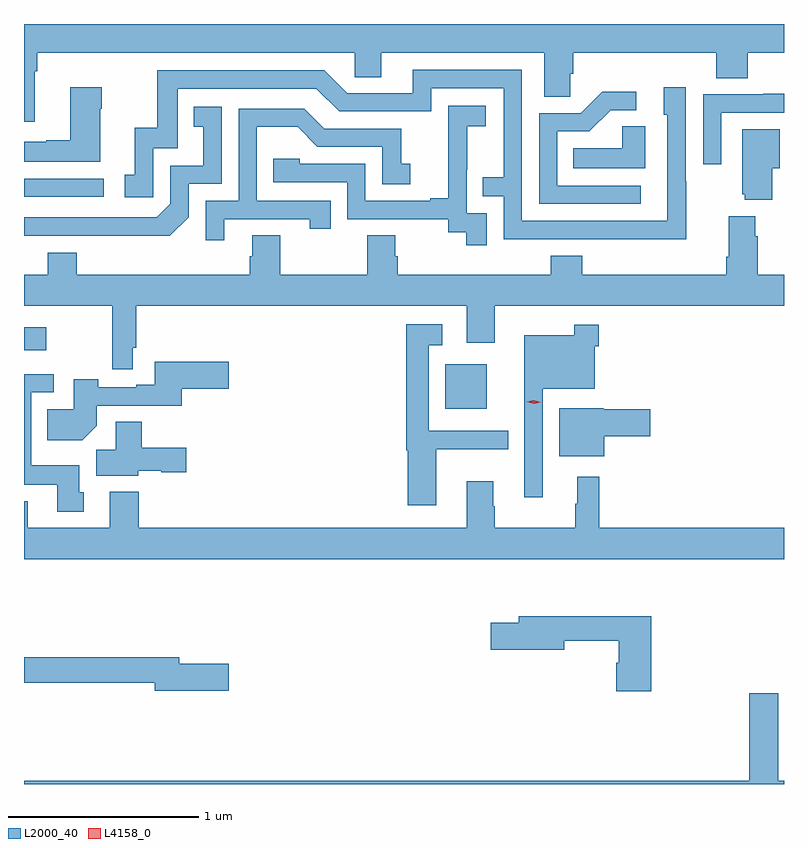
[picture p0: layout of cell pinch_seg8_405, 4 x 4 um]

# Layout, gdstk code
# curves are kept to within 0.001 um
import gdstk
lib = gdstk.Library(unit=1e-6, precision=1e-09)
def R(c, l, rs):  # rectangles x0, y0, x1, y1
    for r in rs: c.add(gdstk.rectangle(r[:2], r[2:], *l))
def P(c, l, *ps):  # polygons
    for p in ps: c.add(gdstk.Polygon(p, *l))
L2000_40 = (2000, 40)
L4158_0 = (4158, 0)

pinch_seg8_405 = lib.new_cell('pinch_seg8_405')
R(pinch_seg8_405, L2000_40, [(588.452,1105.304,588.67,1105.537), (586.234,1105.61,586.351,1105.732), (586.234,1106.418,586.654,1106.514)])
P(pinch_seg8_405, L2000_40, [(587.976,1107.049),(588.115,1107.049),(588.115,1107.176),(588.971,1107.176),(588.971,1106.944),(589.11,1106.944),(589.11,1107.067),(589.124,1107.067),(589.124,1107.176),(589.877,1107.176),(589.877,1107.043),(590.042,1107.043),(590.042,1107.176),(590.234,1107.176),(590.234,1107.328),(586.234,1107.328),(586.234,1106.814),(586.291,1106.814),(586.291,1107.08),(586.304,1107.08),(586.304,1107.176),(587.976,1107.176)],
  [(589.719,1106.501),(589.716,1106.501),(589.716,1106.995),(589.601,1106.995),(589.601,1106.85),(589.62,1106.85),(589.62,1106.292),(588.855,1106.292),(588.855,1107.087),(588.281,1107.087),(588.281,1106.964),(587.934,1106.964),(587.814,1107.084),(586.935,1107.084),(586.935,1106.782),(586.817,1106.782),(586.817,1106.535),(586.764,1106.535),(586.764,1106.415),(586.914,1106.415),(586.914,1106.673),(587.043,1106.673),(587.043,1106.988),(587.772,1106.988),(587.892,1106.868),(588.378,1106.868),(588.378,1106.991),(588.759,1106.991),(588.759,1106.522),(588.649,1106.522),(588.649,1106.421),(588.759,1106.421),(588.759,1106.196),(589.719,1106.195)],
  [(586.636,1106.882),(586.644,1106.882),(586.644,1106.995),(586.478,1106.995),(586.478,1106.717),(586.352,1106.717),(586.352,1106.707),(586.234,1106.707),(586.234,1106.603),(586.636,1106.603)],
  [(589.48,1106.478),(589.041,1106.478),(589.041,1106.763),(589.21,1106.763),(589.321,1106.874),(589.456,1106.874),(589.456,1106.972),(589.277,1106.972),(589.164,1106.859),(588.945,1106.859),(588.945,1106.382),(589.48,1106.382)],
  [(589.905,1106.862),(590.234,1106.862),(590.234,1106.96),(590.125,1106.96),(590.125,1106.958),(589.809,1106.958),(589.809,1106.589),(589.905,1106.589)],
  [(588.669,1106.331),(588.564,1106.331),(588.564,1106.561),(588.566,1106.561),(588.566,1106.789),(588.664,1106.789),(588.664,1106.899),(588.466,1106.899),(588.466,1106.693),(588.467,1106.693),(588.467,1106.41),(588.371,1106.41),(588.371,1106.397),(588.03,1106.397),(588.03,1106.592),(587.685,1106.592),(587.685,1106.619),(587.545,1106.619),(587.545,1106.496),(587.934,1106.496),(587.934,1106.301),(588.468,1106.301),(588.468,1106.233),(588.561,1106.233),(588.561,1106.163),(588.669,1106.163)],
  [(587.1,1106.31),(587.1,1106.487),(587.274,1106.487),(587.274,1106.893),(587.128,1106.893),(587.128,1106.787),(587.177,1106.787),(587.177,1106.583),(587.004,1106.583),(587.004,1106.382),(586.932,1106.31),(586.234,1106.31),(586.234,1106.214),(587.002,1106.213)],
  [(587.287,1106.301),(587.738,1106.301),(587.738,1106.25),(587.849,1106.25),(587.849,1106.397),(587.46,1106.397),(587.46,1106.786),(587.674,1106.786),(587.778,1106.682),(588.12,1106.682),(588.12,1106.484),(588.268,1106.484),(588.268,1106.593),(588.219,1106.593),(588.219,1106.778),(587.815,1106.778),(587.71,1106.883),(587.364,1106.883),(587.364,1106.397),(587.19,1106.397),(587.19,1106.19),(587.287,1106.19)],
  [(589.504,1106.789),(589.383,1106.789),(589.383,1106.674),(589.126,1106.674),(589.126,1106.57),(589.504,1106.57)],
  [(590.173,1106.57),(590.212,1106.57),(590.212,1106.773),(590.015,1106.773),(590.015,1106.433),(590.027,1106.433),(590.027,1106.402),(590.173,1106.402)],
  [(586.806,1105.624),(586.826,1105.624),(586.826,1105.844),(588.563,1105.844),(588.563,1105.65),(588.712,1105.65),(588.712,1105.844),(590.234,1105.844),(590.234,1106.008),(590.096,1106.008),(590.096,1106.21),(590.083,1106.21),(590.083,1106.317),(589.943,1106.317),(589.943,1106.104),(589.931,1106.104),(589.931,1106.008),(589.172,1106.008),(589.172,1106.107),(589.007,1106.107),(589.007,1106.008),(588.2,1106.008),(588.2,1106.106),(588.187,1106.106),(588.187,1106.216),(588.04,1106.216),(588.04,1106.008),(587.583,1106.008),(587.583,1106.216),(587.435,1106.216),(587.435,1106.106),(587.423,1106.106),(587.423,1106.008),(586.511,1106.008),(586.511,1106.125),(586.358,1106.125),(586.358,1106.008),(586.234,1106.008),(586.234,1105.844),(586.698,1105.844),(586.698,1105.512),(586.806,1105.512)],
  [(588.403,1105.091),(588.782,1105.091),(588.782,1105.188),(588.363,1105.188),(588.363,1105.637),(588.436,1105.637),(588.436,1105.747),(588.247,1105.747),(588.247,1105.085),(588.254,1105.085),(588.254,1104.795),(588.403,1104.795)],
  [(588.963,1105.409),(589.239,1105.409),(589.239,1105.631),(589.259,1105.631),(589.259,1105.744),(589.131,1105.744),(589.131,1105.69),(588.866,1105.69),(588.866,1105.313),(588.867,1105.313),(588.867,1104.837),(588.963,1104.837)],
  [(586.618,1105.214),(586.618,1105.32),(587.063,1105.32),(587.063,1105.409),(587.311,1105.409),(587.311,1105.551),(586.922,1105.551),(586.922,1105.429),(586.826,1105.429),(586.826,1105.416),(586.626,1105.416),(586.626,1105.458),(586.496,1105.458),(586.496,1105.3),(586.357,1105.3),(586.357,1105.136),(586.54,1105.136)],
  [(586.549,1104.864),(586.525,1104.864),(586.525,1105.006),(586.272,1105.006),(586.272,1105.389),(586.39,1105.389),(586.39,1105.485),(586.234,1105.485),(586.234,1104.902),(586.409,1104.902),(586.409,1104.762),(586.549,1104.762)],
  [(589.288,1105.159),(589.531,1105.159),(589.531,1105.301),(589.284,1105.301),(589.284,1105.306),(589.052,1105.306),(589.052,1105.052),(589.288,1105.052)],
  [(586.836,1104.977),(586.956,1104.977),(586.956,1104.97),(587.089,1104.97),(587.089,1105.099),(586.853,1105.099),(586.853,1105.235),(586.718,1105.235),(586.718,1105.088),(586.613,1105.088),(586.613,1104.95),(586.836,1104.95)],
  [(590.234,1104.676),(589.262,1104.676),(589.262,1104.946),(589.145,1104.946),(589.145,1104.803),(589.134,1104.803),(589.134,1104.676),(588.711,1104.676),(588.711,1104.791),(588.703,1104.791),(588.703,1104.922),(588.563,1104.922),(588.563,1104.676),(586.838,1104.676),(586.838,1104.865),(586.685,1104.865),(586.685,1104.676),(586.255,1104.676),(586.255,1104.817),(586.234,1104.817),(586.234,1104.512),(590.234,1104.512)],
  [(589.535,1104.211),(588.839,1104.211),(588.839,1104.177),(588.69,1104.177),(588.69,1104.035),(589.078,1104.035),(589.078,1104.082),(589.364,1104.082),(589.364,1103.967),(589.352,1103.967),(589.352,1103.817),(589.535,1103.817)],
  [(587.311,1103.96),(587.05,1103.96),(587.05,1103.996),(586.234,1103.996),(586.234,1103.86),(586.922,1103.86),(586.922,1103.818),(587.311,1103.818)],
  [(590.234,1103.344),(590.203,1103.344),(590.203,1103.806),(590.051,1103.806),(590.051,1103.344),(586.234,1103.344),(586.234,1103.328),(590.234,1103.328)])
P(pinch_seg8_405, L4158_0, [(588.916,1105.329),(588.881,1105.34),(588.881,1105.34),(588.881,1105.34),(588.917,1105.349),(588.953,1105.337),(588.953,1105.337),(588.953,1105.337)])

lib.write_gds('pinch_seg8_405.gds')
